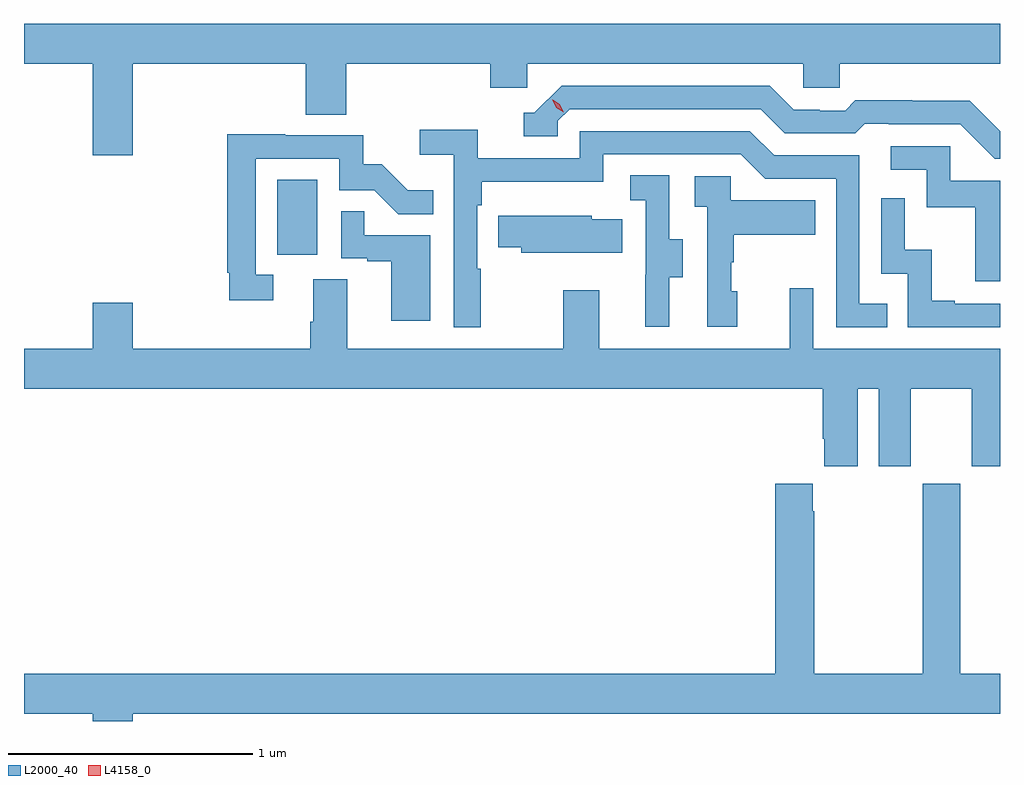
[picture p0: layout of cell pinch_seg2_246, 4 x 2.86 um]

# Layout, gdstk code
import gdstk
lib = gdstk.Library(unit=1e-6, precision=1e-09)
def R(c, l, rs):  # rectangles x0, y0, x1, y1
    for r in rs: c.add(gdstk.rectangle(r[:2], r[2:], *l))
def P(c, l, *ps):  # polygons
    for p in ps: c.add(gdstk.Polygon(p, *l))
L2000_40 = (2000, 40)
L4158_0 = (4158, 0)

pinch_seg2_246 = lib.new_cell('pinch_seg2_246')
R(pinch_seg2_246, L2000_40, [(921.008,654.846,921.172,655.153)])
P(pinch_seg2_246, L2000_40, [(920.416,655.628),(921.125,655.628),(921.125,655.42),(921.29,655.42),(921.29,655.628),(921.881,655.628),(921.881,655.53),(922.032,655.53),(922.032,655.628),(923.163,655.628),(923.163,655.53),(923.313,655.53),(923.313,655.628),(923.97,655.628),(923.97,655.792),(919.97,655.792),(919.97,655.628),(920.252,655.628),(920.252,655.254),(920.416,655.254)],
  [(923.97,655.353),(923.846,655.477),(923.61,655.477),(923.61,655.48),(923.377,655.48),(923.335,655.437),(923.232,655.437),(923.232,655.44),(923.125,655.44),(923.026,655.539),(922.173,655.539),(922.062,655.428),(922.019,655.428),(922.019,655.332),(922.158,655.332),(922.158,655.395),(922.206,655.443),(922.989,655.443),(923.088,655.344),(923.377,655.344),(923.416,655.383),(923.515,655.383),(923.515,655.38),(923.808,655.38),(923.949,655.239),(923.97,655.239)],
  [(921.841,654.788),(921.828,654.788),(921.828,655.049),(921.845,655.049),(921.845,655.145),(922.344,655.145),(922.344,655.257),(922.908,655.257),(923.007,655.158),(923.298,655.158),(923.298,654.549),(923.507,654.549),(923.507,654.645),(923.394,654.645),(923.394,655.254),(923.044,655.254),(922.945,655.353),(922.248,655.353),(922.248,655.242),(921.83,655.242),(921.83,655.358),(921.591,655.358),(921.591,655.256),(921.732,655.256),(921.732,654.549),(921.841,654.549)],
  [(920.992,654.765),(920.919,654.765),(920.919,655.239),(921.261,655.239),(921.261,655.11),(921.405,655.11),(921.503,655.012),(921.647,655.012),(921.647,655.111),(921.543,655.111),(921.436,655.218),(921.36,655.218),(921.36,655.335),(921.041,655.335),(921.041,655.34),(920.803,655.34),(920.803,654.772),(920.811,654.772),(920.811,654.66),(920.992,654.66)],
  [(923.97,655.149),(923.766,655.149),(923.766,655.29),(923.523,655.29),(923.523,655.194),(923.67,655.194),(923.67,655.041),(923.869,655.041),(923.869,654.738),(923.97,654.738)],
  [(922.615,654.754),(922.669,654.754),(922.669,654.909),(922.614,654.909),(922.614,655.172),(922.455,655.172),(922.455,655.069),(922.518,655.069),(922.518,654.765),(922.517,654.765),(922.517,654.552),(922.615,654.552)],
  [(922.894,654.696),(922.869,654.696),(922.869,654.815),(922.879,654.815),(922.879,654.929),(923.213,654.929),(923.213,655.069),(922.866,655.069),(922.866,655.167),(922.719,655.167),(922.719,655.043),(922.77,655.043),(922.77,654.552),(922.894,654.552)],
  [(923.97,654.645),(923.785,654.645),(923.785,654.658),(923.69,654.658),(923.69,654.866),(923.58,654.866),(923.58,655.078),(923.484,655.078),(923.484,654.768),(923.592,654.768),(923.592,654.549),(923.97,654.549)],
  [(921.634,654.927),(921.365,654.927),(921.365,655.025),(921.27,655.025),(921.27,654.831),(921.377,654.831),(921.377,654.819),(921.476,654.819),(921.476,654.576),(921.634,654.576)],
  [(922.421,654.991),(922.296,654.991),(922.296,655.006),(922.024,655.006),(922.024,655.005),(921.913,655.005),(921.913,654.877),(922.007,654.877),(922.007,654.854),(922.421,654.854)],
  [(923.386,654.296),(923.474,654.296),(923.474,653.979),(923.605,653.979),(923.605,654.296),(923.855,654.296),(923.855,653.979),(923.97,653.979),(923.97,654.46),(923.205,654.46),(923.205,654.709),(923.108,654.709),(923.108,654.46),(922.327,654.46),(922.327,654.7),(922.18,654.7),(922.18,654.46),(921.295,654.46),(921.295,654.746),(921.155,654.746),(921.155,654.572),(921.143,654.572),(921.143,654.46),(920.416,654.46),(920.416,654.649),(920.252,654.649),(920.252,654.46),(919.97,654.46),(919.97,654.296),(923.243,654.296),(923.243,654.091),(923.249,654.091),(923.249,653.979),(923.386,653.979)],
  [(920.416,652.964),(923.97,652.964),(923.97,653.128),(923.808,653.128),(923.808,653.908),(923.653,653.908),(923.653,653.128),(923.208,653.128),(923.208,653.795),(923.203,653.795),(923.203,653.908),(923.048,653.908),(923.048,653.128),(919.97,653.128),(919.97,652.964),(920.252,652.964),(920.252,652.935),(920.416,652.935)])
P(pinch_seg2_246, L4158_0, [(922.182,655.43),(922.152,655.449),(922.135,655.481),(922.135,655.481),(922.136,655.481),(922.166,655.462),(922.182,655.43),(922.182,655.43)])

lib.write_gds('pinch_seg2_246.gds')
